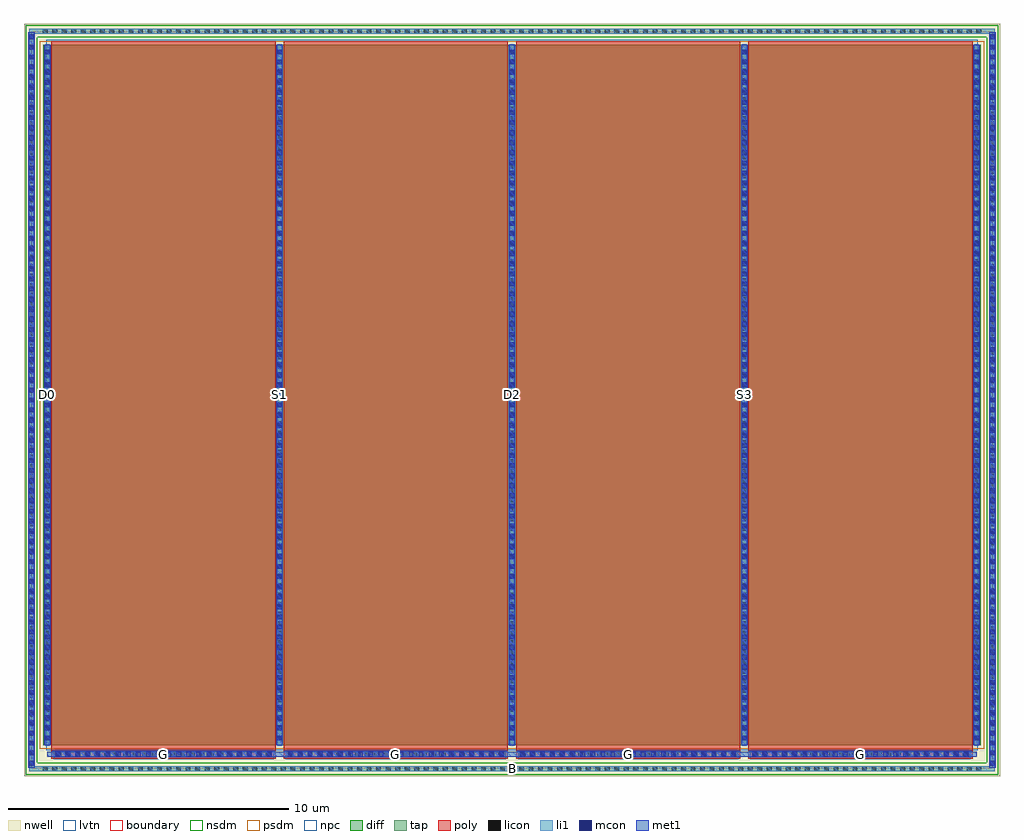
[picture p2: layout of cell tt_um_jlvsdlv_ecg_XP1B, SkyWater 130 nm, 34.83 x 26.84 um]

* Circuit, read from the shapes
.subckt tt_um_jlvsdlv_ecg_XP1B B D0 D2 G S1 S3
XM1 S1 G D0 B sky130_fd_pr__pfet_01v8_lvt w=25 l=8
XM2 D2 G S1 B sky130_fd_pr__pfet_01v8_lvt w=25 l=8
XM3 S3 G D2 B sky130_fd_pr__pfet_01v8_lvt w=25 l=8
XM4 n1 G S3 B sky130_fd_pr__pfet_01v8_lvt w=25 l=8
.ends

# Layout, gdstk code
import gdstk
lib = gdstk.Library(unit=1e-6, precision=1e-09)
def R(c, l, rs):  # rectangles x0, y0, x1, y1
    for r in rs: c.add(gdstk.rectangle(r[:2], r[2:], *l))
def A(c, l, x, y, w, h, nx, ny, dx, dy):  # array of equal rectangles
    R(c, l, [(x+i*dx, y+j*dy, x+i*dx+w, y+j*dy+h) for i in range(nx) for j in range(ny)])
nwell = (64, 20)
diff = (65, 20)
tap = (65, 44)
poly = (66, 20)
licon = (66, 44)
li1 = (67, 20)
mcon = (67, 44)
met1 = (68, 20)
nsdm = (93, 44)
psdm = (94, 20)
npc = (95, 20)
lvtn = (125, 44)
boundary = (235, 4)

tt_um_jlvsdlv_ecg_xp1b = lib.new_cell('tt_um_jlvsdlv_ecg_XP1B')
R(tt_um_jlvsdlv_ecg_xp1b, nwell, [(-17.415,-13.42,17.415,13.42)])
R(tt_um_jlvsdlv_ecg_xp1b, diff, [(-16.725,-12.32,16.725,12.68)])
R(tt_um_jlvsdlv_ecg_xp1b, tap, [(-17.235,-13.24,17.235,-13.07), (-17.235,-13.07,-17.065,13.07), (17.065,-13.07,17.235,13.07), (-17.235,13.07,17.235,13.24)])
A(tt_um_jlvsdlv_ecg_xp1b, poly, -16.435, -12.805, 8, 25.615, 4, 1, 8.29, 0)
A(tt_um_jlvsdlv_ecg_xp1b, licon, -16.745, -13.24, 0.17, 0.17, 99, 2, 0.34, 26.31)
A(tt_um_jlvsdlv_ecg_xp1b, licon, -16.26, -12.725, 0.17, 0.17, 23, 1, 0.34, 0)
A(tt_um_jlvsdlv_ecg_xp1b, licon, -7.97, -12.725, 0.17, 0.17, 23, 1, 0.34, 0)
A(tt_um_jlvsdlv_ecg_xp1b, licon, 0.32, -12.725, 0.17, 0.17, 23, 1, 0.34, 0)
A(tt_um_jlvsdlv_ecg_xp1b, licon, 8.61, -12.725, 0.17, 0.17, 23, 1, 0.34, 0)
A(tt_um_jlvsdlv_ecg_xp1b, licon, -17.235, -12.665, 0.17, 0.17, 1, 75, 0, 0.34)
A(tt_um_jlvsdlv_ecg_xp1b, licon, 17.065, -12.665, 0.17, 0.17, 1, 75, 0, 0.34)
A(tt_um_jlvsdlv_ecg_xp1b, licon, -16.665, -12.145, 0.17, 0.17, 5, 73, 8.29, 0.34)
A(tt_um_jlvsdlv_ecg_xp1b, li1, -16.665, -12.34, 0.17, 25.04, 5, 1, 8.29, 0)
R(tt_um_jlvsdlv_ecg_xp1b, li1, [(-17.235,-13.24,17.235,-13.07), (-17.235,-13.07,-17.065,13.07), (17.065,-13.07,17.235,13.07), (-16.58,-12.725,16.58,-12.555), (-17.235,13.07,17.235,13.24)])
A(tt_um_jlvsdlv_ecg_xp1b, mcon, -17.235, -13.045, 0.17, 0.17, 1, 73, 0, 0.36)
A(tt_um_jlvsdlv_ecg_xp1b, mcon, 17.065, -13.045, 0.17, 0.17, 1, 73, 0, 0.36)
A(tt_um_jlvsdlv_ecg_xp1b, mcon, -16.3, -12.725, 0.17, 0.17, 22, 1, 0.36, 0)
A(tt_um_jlvsdlv_ecg_xp1b, mcon, -8.01, -12.725, 0.17, 0.17, 22, 1, 0.36, 0)
A(tt_um_jlvsdlv_ecg_xp1b, mcon, 0.28, -12.725, 0.17, 0.17, 22, 1, 0.36, 0)
A(tt_um_jlvsdlv_ecg_xp1b, mcon, 8.57, -12.725, 0.17, 0.17, 22, 1, 0.36, 0)
A(tt_um_jlvsdlv_ecg_xp1b, mcon, -16.665, -12.145, 0.17, 0.17, 5, 69, 8.29, 0.36)
A(tt_um_jlvsdlv_ecg_xp1b, met1, -16.415, -12.755, 7.96, 0.03, 4, 2, 8.29, 0.2)
A(tt_um_jlvsdlv_ecg_xp1b, met1, -16.695, -12.32, 0.23, 25, 5, 1, 8.29, 0)
R(tt_um_jlvsdlv_ecg_xp1b, met1, [(-17.265,-13.13,-17.035,13.13), (17.035,-13.13,17.265,13.13), (-16.58,-12.725,16.58,-12.555)])
R(tt_um_jlvsdlv_ecg_xp1b, nsdm, [(-17.36,-13.365,17.36,-12.945), (-17.36,-12.945,-16.94,12.945), (16.94,-12.945,17.36,12.945), (-17.36,12.945,17.36,13.365)])
R(tt_um_jlvsdlv_ecg_xp1b, psdm, [(-16.85,-12.445,16.85,12.805)])
A(tt_um_jlvsdlv_ecg_xp1b, npc, -16.36, -12.825, 7.85, 0.37, 4, 1, 8.29, 0)
R(tt_um_jlvsdlv_ecg_xp1b, lvtn, [(-16.615,-12.5,16.615,12.86)])
R(tt_um_jlvsdlv_ecg_xp1b, boundary, [(-17.15,-13.155,17.15,13.155)])
tt_um_jlvsdlv_ecg_xp1b.add(gdstk.Label('S3', (8.29,0.18), layer=67, texttype=5))
tt_um_jlvsdlv_ecg_xp1b.add(gdstk.Label('D2', (0,0.18), layer=67, texttype=5))
tt_um_jlvsdlv_ecg_xp1b.add(gdstk.Label('S1', (-8.29,0.18), layer=67, texttype=5))
tt_um_jlvsdlv_ecg_xp1b.add(gdstk.Label('G', (-12.435,-12.64), layer=67, texttype=5))
tt_um_jlvsdlv_ecg_xp1b.add(gdstk.Label('G', (-4.145,-12.64), layer=67, texttype=5))
tt_um_jlvsdlv_ecg_xp1b.add(gdstk.Label('G', (4.145,-12.64), layer=67, texttype=5))
tt_um_jlvsdlv_ecg_xp1b.add(gdstk.Label('G', (12.435,-12.64), layer=67, texttype=5))
tt_um_jlvsdlv_ecg_xp1b.add(gdstk.Label('D0', (-16.58,0.18), layer=67, texttype=5))
tt_um_jlvsdlv_ecg_xp1b.add(gdstk.Label('B', (0,-13.155), layer=67, texttype=5))

lib.write_gds('tt_um_jlvsdlv_ecg_XP1B.gds')
